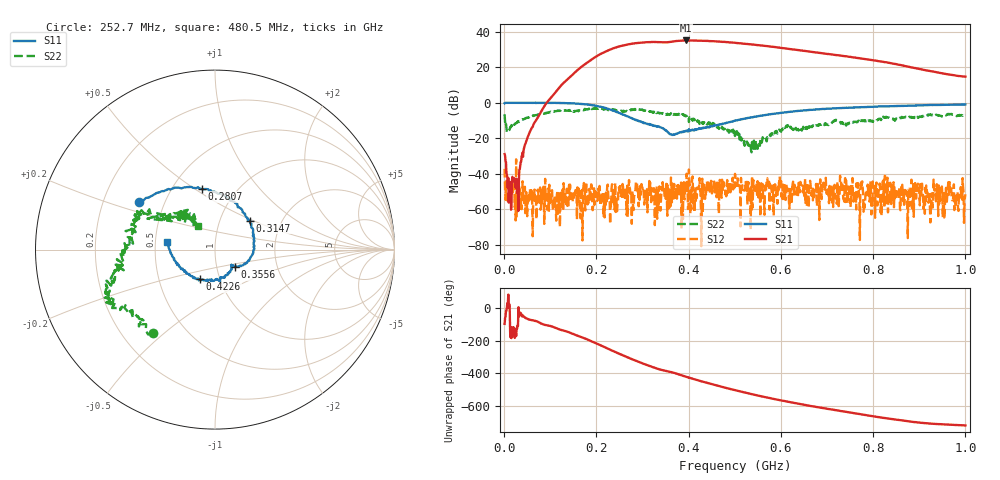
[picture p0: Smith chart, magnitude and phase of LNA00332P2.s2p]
! Created with skrf 1.9.0 (http://scikit-rf.org).
# Hz S RI R 50.0
!freq ReS11 ImS11 ReS21 ImS21 ReS12 ImS12 ReS22 ImS22
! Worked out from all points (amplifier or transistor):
!   1001 points, 1 MHz to 1 GHz, reference 50 ohm
!   highest |S21| = 35.1 dB at 394.6 MHz (marker M1)
!   |S21| within 3 dB of that: 255.2 MHz to 563.3 MHz (308.1 MHz wide, 75.3 % of centre)
!   unconditionally stable (mu >= 1): 26.34 MHz to 80.6 MHz; 287.2 MHz to 395.5 MHz; 400.8 MHz to end of sweep (the widest 3 of 28)
!   at 166.8 MHz: K = 1.21, MAG = 31.5 dB, |S12| = -48.5 dB
!   at 500.5 MHz: K = 1.12, MAG = 34.8 dB, |S12| = -40.0 dB
!   at 1 GHz: K = 5.43, MAG = 22.8 dB, |S12| = -51.4 dB
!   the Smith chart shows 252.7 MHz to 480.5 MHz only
!   S11 on the Smith chart (normalised r, x): 252.7 MHz: 0.36, +0.25; 280.7 MHz: 0.69, +0.53; 314.7 MHz: 1.39, +0.48; 355.6 MHz: 1.23, -0.24; 422.6 MHz: 0.81, -0.28; 480.5 MHz: 0.58, +0.06
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1000000  0.9721 0.00474  -0.0047 -0.0359  -0.0126 0.00596  0.3604 0.3108
1.08892e8  0.5064 -0.8554  -0.8734 -1.583  -0.00188 -0.000905  0.4334 -0.3757
1.67833e8  -0.2561 -0.8893  -10.35 -0.3177  0.000931 -0.00203  0.0291 -0.6347
2.12788e8  -0.6882 -0.3061  -14.86 19.9  -0.00133 -0.00222  -0.2117 -0.6401
2.31769e8  -0.633 0.0103  -6.588 31.4  0.000186 -0.00111  -0.2734 -0.5862
2.52748e8  -0.422 0.2634  9.76 38.26  -0.0022 -9.23e-05  -0.3444 -0.4633
2.8072e8  -0.0745 0.338  34.46 31.37  -0.000683 -0.000686  -0.5718 -0.3043
3.14686e8  0.1964 0.1616  50.6 4.421  -0.00318 0.0055  -0.5588 -0.1206
3.34666e8  0.2128 -0.00732  49.47 -12.48  -0.000821 0.000555  -0.5333 -0.029
3.55645e8  0.1119 -0.0975  44.13 -24.58  -0.00165 0.00486  -0.4781 0.0686
3.72628e8  0.095 -0.0944  41.02 -35.95  -0.00101 0.00361  -0.4539 0.1637
3.94606e8  0.0491 -0.1525  26.96 -49.77  0.000826 0.00274  -0.3854 0.1931
4.22578e8  -0.0826 -0.1649  4.567 -55.55  0.00401 0.00167  -0.2456 0.1813
4.49551e8  -0.1948 -0.097  -15.6 -51.81  0.00518 0.00354  -0.17 0.2045
4.8052e8  -0.2667 0.0449  -32.52 -39.73  0.0032 0.0015  -0.0972 0.1308
5.005e8  -0.2755 0.1595  -39.44 -28.82  0.00925 0.0039  -0.0749 0.0892
5.4046e8  -0.1832 0.3504  -42.55 -7.179  0.00411 -0.00525  -0.0413 0.0301
5.88412e8  0.0266 0.4962  -34.45 12.6  -0.0019 -0.00248  -0.1288 -0.0678
6.67333e8  0.4027 0.4922  -12.44 23.71  0.00363 -0.000672  -0.2053 -0.0298
7.53247e8  0.6775 0.2807  4.207 18.75  -0.000988 -0.00306  -0.2646 0.0311
8.34166e8  0.7999 0.0172  9.974 8.818  0.00252 -0.00136  -0.3821 0.0423
1e9  0.7304 -0.522  5.454 -0.0191  -0.00243 -0.00113  -0.2562 0.3801
